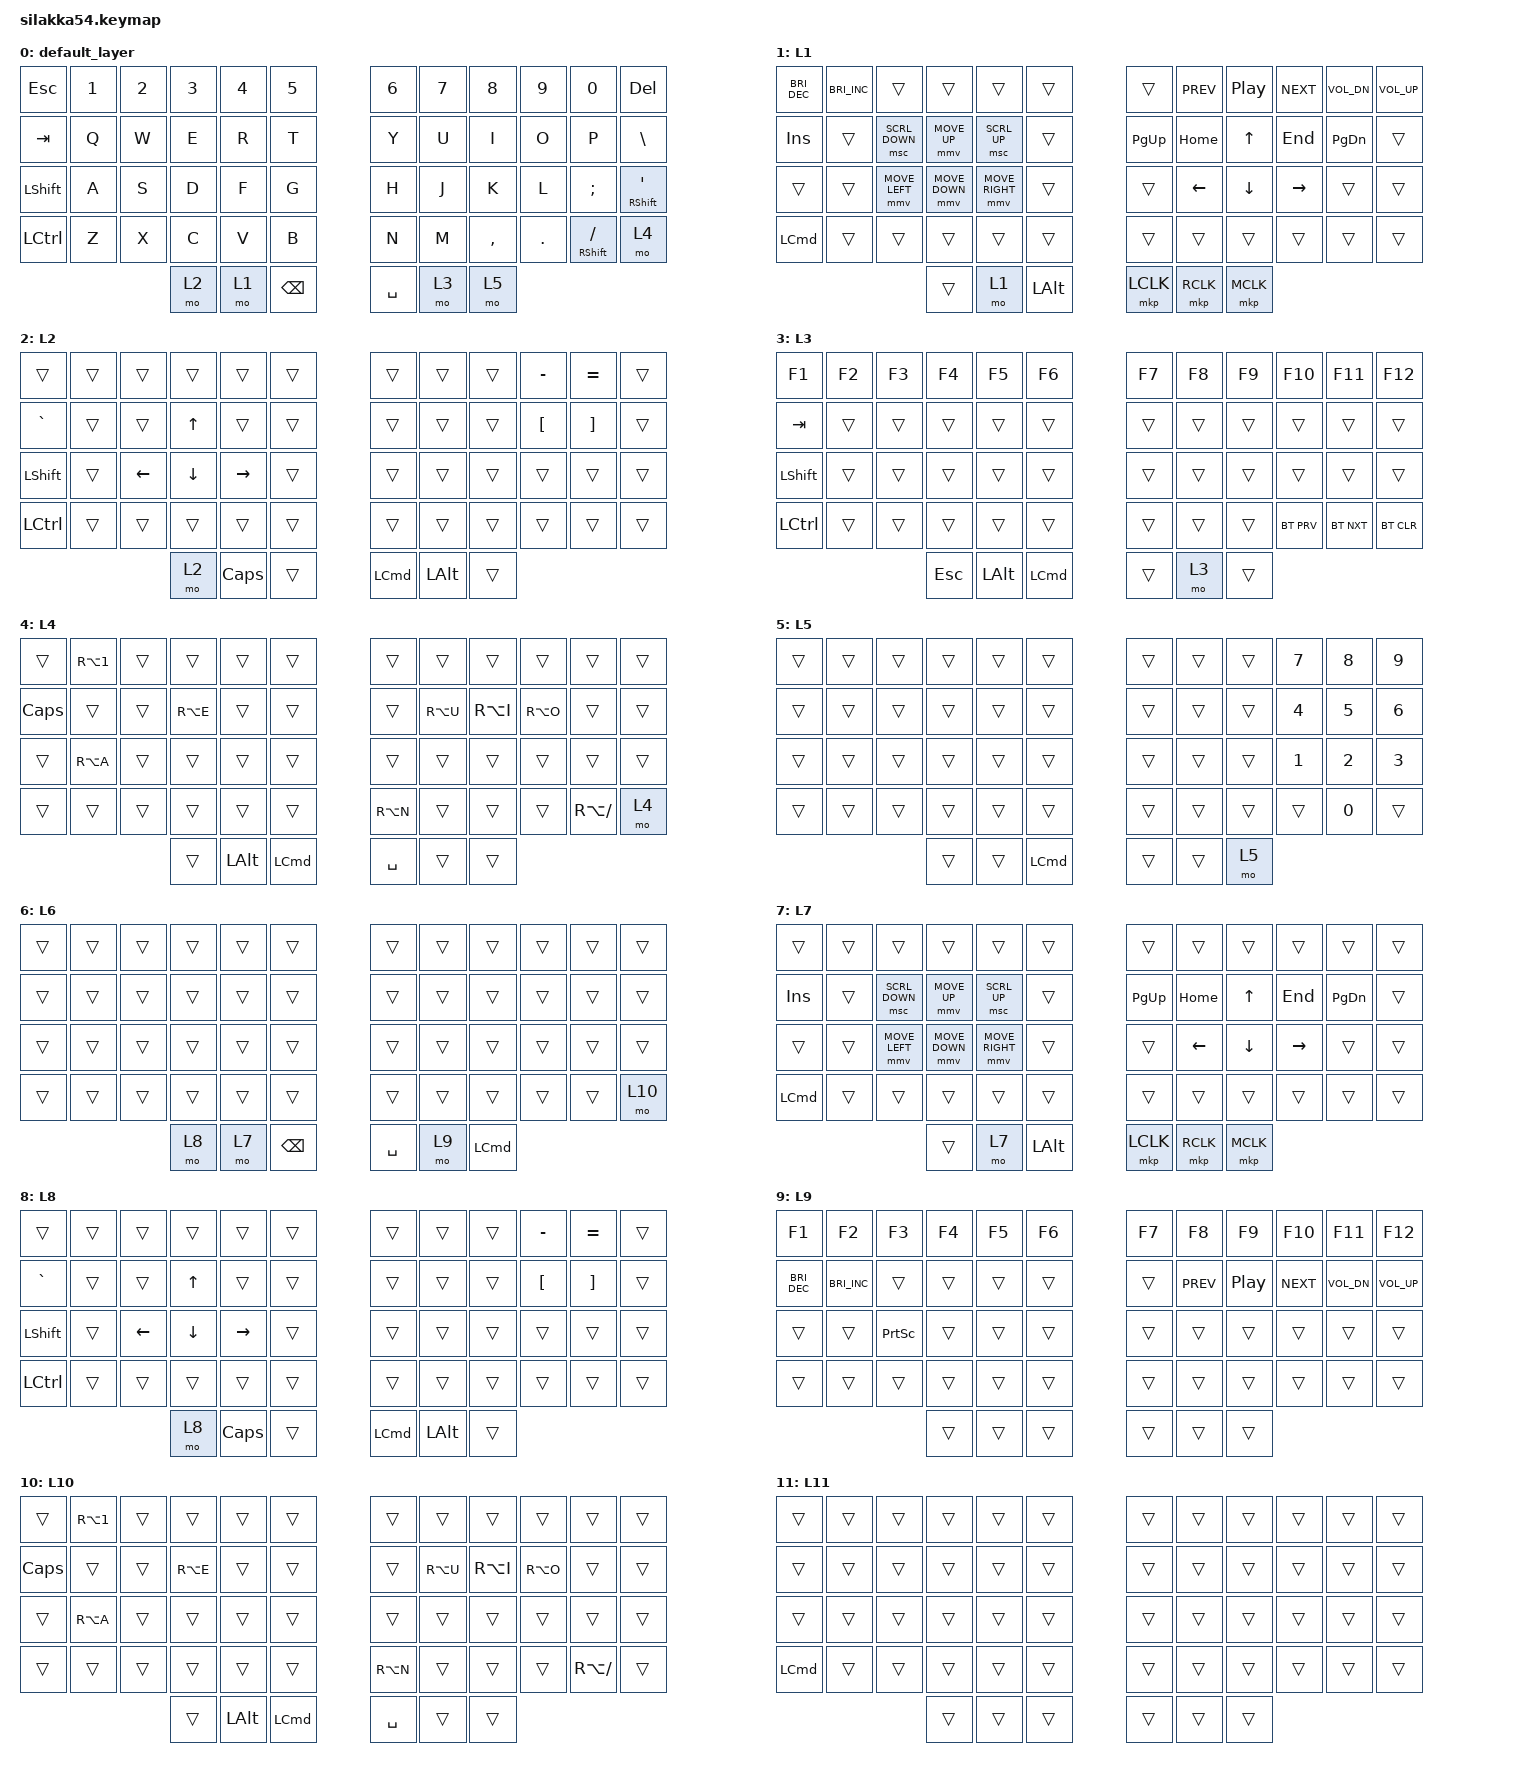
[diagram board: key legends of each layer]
#include <behaviors.dtsi>
#include <dt-bindings/zmk/bt.h>
#include <dt-bindings/zmk/keys.h>
#include <dt-bindings/zmk/pointing.h>

#undef ZMK_POINTING_DEFAULT_MOVE_VAL
#define ZMK_POINTING_DEFAULT_MOVE_VAL 2500

#undef ZMK_POINTING_DEFAULT_SCRL_VAL
#define ZMK_POINTING_DEFAULT_SCRL_VAL 20

&mmv {
    time-to-max-speed-ms = <300>;
    acceleration-exponent = <1>;
};

/ {
    combos {
        compatible = "zmk,combos";

        enter {
            bindings = <&kp ENTER>;
            key-positions = <31 33 32>;
        };

        /*
         * Windows -> Linux
         *
         * DELETE + BACKSLASH + SINGLE_QUOTE
         */
        windows_to_linux {
            bindings = <&to 6>;
            key-positions = <11 23 35>;
            layers = <0>;
            timeout-ms = <100>;
        };

        /*
         * Linux -> Windows
         *
         * DELETE + BACKSLASH + SINGLE_QUOTE
         */
        linux_to_windows {
            bindings = <&to 0>;
            key-positions = <11 23 35>;
            layers = <6>;
            timeout-ms = <100>;
        };
    };

    keymap {
        compatible = "zmk,keymap";

        /*
         * ============================================================
         * L0 - WINDOWS BASE
         * ============================================================
         */
        default_layer {
            bindings = <
                &kp ESC          &kp NUMBER_1  &kp NUMBER_2  &kp NUMBER_3  &kp NUMBER_4  &kp NUMBER_5    &kp NUMBER_6  &kp NUMBER_7  &kp NUMBER_8  &kp NUMBER_9  &kp NUMBER_0  &kp DELETE
                &kp TAB          &kp Q         &kp W         &kp E         &kp R         &kp T            &kp Y         &kp U         &kp I         &kp O         &kp P         &kp BACKSLASH
                &kp LSHFT        &kp A         &kp S         &kp D         &kp F         &kp G            &kp H         &kp J         &kp K         &kp L         &kp SEMICOLON &mt RSHFT SINGLE_QUOTE
                &kp LCTRL        &kp Z         &kp X         &kp C         &kp V         &kp B            &kp N         &kp M         &kp COMMA     &kp PERIOD    &mt RSHFT SLASH &mo 4
                &mo 2            &mo 1         &kp BACKSPACE &kp SPACE      &mo 3         &mo 5
            >;
        };

        /*
         * ============================================================
         * L1 - WINDOWS
         * Mouse / Navigation / Multimedia
         * ============================================================
         */
        L1 {
            bindings = <
                &kp C_BRIGHTNESS_DEC  &kp C_BRIGHTNESS_INC  &trans          &trans          &trans          &trans        &trans        &kp C_PREV       &kp C_PLAY_PAUSE  &kp C_NEXT       &kp C_VOL_DN   &kp C_VOLUME_UP
                &kp INS               &trans                &msc SCRL_DOWN  &mmv MOVE_UP    &msc SCRL_UP    &trans        &kp PAGE_UP   &kp HOME         &kp UP_ARROW      &kp END         &kp PAGE_DOWN  &trans
                &trans                &trans                &mmv MOVE_LEFT &mmv MOVE_DOWN &mmv MOVE_RIGHT &trans        &trans        &kp LEFT_ARROW   &kp DOWN_ARROW    &kp RIGHT       &trans         &trans
                &kp LEFT_COMMAND      &trans                &trans          &trans          &trans          &trans        &trans        &trans           &trans             &trans         &trans         &trans
                &trans                &mo 1                 &kp LEFT_ALT    &mkp LCLK       &mkp RCLK        &mkp MCLK
            >;
        };

        /*
         * ============================================================
         * L2 - WINDOWS
         * Symbols / Navigation
         * ============================================================
         */
        L2 {
            bindings = <
                &trans          &trans  &trans          &trans          &trans        &trans    &trans          &trans        &trans       &kp MINUS  &kp EQUAL  &trans
                &kp GRAVE       &trans  &trans          &kp UP_ARROW    &trans        &trans    &trans          &trans        &trans       &kp LBKT   &kp RBKT   &trans
                &kp LEFT_SHIFT  &trans  &kp LEFT_ARROW  &kp DOWN_ARROW  &kp RIGHT     &trans    &trans          &trans        &trans       &trans     &trans     &trans
                &kp LCTRL       &trans  &trans          &trans          &trans        &trans    &trans          &trans        &trans       &trans     &trans     &trans
                &mo 2           &kp CAPSLOCK &trans    &kp LEFT_COMMAND &kp LEFT_ALT &trans
            >;
        };

        /*
         * ============================================================
         * L3 - WINDOWS
         * F1-F12
         * ============================================================
         */
        L3 {
            bindings = <
                &kp F1            &kp F2  &kp F3  &kp F4  &kp F5  &kp F6       &kp F7  &kp F8  &kp F9  &kp F10  &kp F11  &kp F12
                &kp TAB           &trans  &trans  &trans  &trans  &trans       &trans  &trans  &trans  &trans   &trans   &trans
                &kp LEFT_SHIFT    &trans  &trans  &trans  &trans  &trans       &trans  &trans  &trans  &trans   &trans   &trans
                &kp LEFT_CONTROL  &trans  &trans  &trans  &trans  &trans       &trans  &trans  &trans  &bt BT_PRV &bt BT_NXT &bt BT_CLR
                &kp ESCAPE        &kp LEFT_ALT &kp LEFT_COMMAND &trans &mo 3 &trans
            >;
        };

        /*
         * ============================================================
         * L4 - WINDOWS
         * Special characters
         * ============================================================
         */
        L4 {
            bindings = <
                &trans          &kp RA(NUMBER_1) &trans &trans &trans &trans       &trans &trans &trans &trans &trans &trans
                &kp CAPSLOCK    &trans           &trans &kp RA(E) &trans &trans  &trans &kp RA(U) &kp RA(I) &kp RA(O) &trans &trans
                &trans          &kp RA(A)        &trans &trans &trans &trans     &trans &trans &trans &trans &trans &trans
                &trans          &trans           &trans &trans &trans &trans     &kp RA(N) &trans &trans &trans &kp RA(SLASH) &mo 4
                &trans          &kp LEFT_ALT     &kp LEFT_COMMAND &kp SPACE &trans &trans
            >;
        };

        /*
         * ============================================================
         * L5 - WINDOWS
         * Numpad
         * ============================================================
         */
        L5 {
            bindings = <
                &trans &trans &trans &trans &trans &trans       &trans &trans &trans &kp N7 &kp N8 &kp N9
                &trans &trans &trans &trans &trans &trans       &trans &trans &trans &kp N4 &kp N5 &kp N6
                &trans &trans &trans &trans &trans &trans       &trans &trans &trans &kp N1 &kp N2 &kp N3
                &trans &trans &trans &trans &trans &trans       &trans &trans &trans &trans &kp NUMBER_0 &trans
                &trans &trans &kp LEFT_COMMAND &trans &trans &mo 5
            >;
        };

        /*
         * ============================================================
         * L6 - LINUX BASE
         * ============================================================
         *
         * MO7  = Mouse
         * MO8  = Navigation / Symbols
         * MO9  = F-keys + Multimedia + Brightness + Volume
         * MO10 = Special characters
         * MO11 = Super / Hyprland modifiers
         */
        L6 {
            bindings = <
                &trans &trans &trans &trans &trans &trans       &trans &trans &trans &trans &trans &trans
                &trans &trans &trans &trans &trans &trans       &trans &trans &trans &trans &trans &trans
                &trans &trans &trans &trans &trans &trans       &trans &trans &trans &trans &trans &trans
                &trans &trans &trans &trans &trans &trans       &trans &trans &trans &trans &trans &mo 10
                &mo 8 &mo 7 &kp BACKSPACE &kp SPACE &mo 9 &kp LEFT_COMMAND
            >;
        };

        /*
         * ============================================================
         * L7 - LINUX
         * Mouse / Scroll / Clicks
         *
         * Igual que Windows L1, pero SIN:
         * - Brillo
         * - Volumen
         * - Multimedia
         */
        L7 {
            bindings = <
                &trans          &trans          &trans          &trans          &trans          &trans        &trans        &trans          &trans          &trans          &trans         &trans
                &kp INS         &trans          &msc SCRL_DOWN &mmv MOVE_UP    &msc SCRL_UP    &trans        &kp PAGE_UP   &kp HOME        &kp UP_ARROW    &kp END         &kp PAGE_DOWN  &trans
                &trans          &trans          &mmv MOVE_LEFT &mmv MOVE_DOWN &mmv MOVE_RIGHT &trans        &trans        &kp LEFT_ARROW  &kp DOWN_ARROW  &kp RIGHT       &trans         &trans
                &kp LEFT_COMMAND &trans         &trans          &trans          &trans          &trans        &trans        &trans          &trans          &trans          &trans         &trans
                &trans          &mo 7           &kp LEFT_ALT    &mkp LCLK       &mkp RCLK       &mkp MCLK
            >;
        };

        /*
         * ============================================================
         * L8 - LINUX
         * Navigation / Symbols
         *
         * Igual que Windows L2.
         *
         * Incluye:
         * - Flechas
         * - Home / End
         * - Page Up / Page Down
         * - Grave
         * - -
         * - =
         * - [
         * - ]
         * - Shift / Ctrl / Alt
         *
         * NO incluye:
         * - Brillo
         * - Volumen
         * - Multimedia
         */
        L8 {
            bindings = <
                &trans          &trans  &trans          &trans          &trans        &trans    &trans          &trans        &trans       &kp MINUS  &kp EQUAL  &trans
                &kp GRAVE       &trans  &trans          &kp UP_ARROW    &trans        &trans    &trans          &trans        &trans       &kp LBKT   &kp RBKT   &trans
                &kp LEFT_SHIFT  &trans  &kp LEFT_ARROW  &kp DOWN_ARROW  &kp RIGHT     &trans    &trans          &trans        &trans       &trans     &trans     &trans
                &kp LCTRL       &trans  &trans          &trans          &trans        &trans    &trans          &trans        &trans       &trans     &trans     &trans
                &mo 8           &kp CAPSLOCK &trans    &kp LEFT_COMMAND &kp LEFT_ALT &trans
            >;
        };

        /*
         * ============================================================
         * L9 - LINUX
         * F1-F12 + Multimedia + Brightness + Volume
         * ============================================================
         *
         * Acá se concentra todo el control del sistema.
         */
        L9 {
            bindings = <
                &kp F1            &kp F2  &kp F3  &kp F4  &kp F5  &kp F6       &kp F7  &kp F8  &kp F9  &kp F10  &kp F11  &kp F12
                &kp C_BRIGHTNESS_DEC &kp C_BRIGHTNESS_INC &trans &trans &trans &trans       &trans &kp C_PREV &kp C_PLAY_PAUSE &kp C_NEXT &kp C_VOL_DN &kp C_VOLUME_UP
                &trans          &trans  &kp PRINTSCREEN  &trans  &trans  &trans       &trans &trans &trans &trans &trans &trans
                &trans          &trans  &trans  &trans  &trans  &trans       &trans &trans &trans &trans &trans &trans
                &trans          &trans  &trans  &trans  &trans  &trans
            >;
        };

        /*
         * ============================================================
         * L10 - LINUX
         * Special characters
         *
         * Igual que Windows L4.
         */
        L10 {
            bindings = <
                &trans          &kp RA(NUMBER_1) &trans &trans &trans &trans       &trans &trans &trans &trans &trans &trans
                &kp CAPSLOCK    &trans           &trans &kp RA(E) &trans &trans  &trans &kp RA(U) &kp RA(I) &kp RA(O) &trans &trans
                &trans          &kp RA(A)        &trans &trans &trans &trans     &trans &trans &trans &trans &trans &trans
                &trans          &trans           &trans &trans &trans &trans     &kp RA(N) &trans &trans &trans &kp RA(SLASH) &trans
                &trans          &kp LEFT_ALT     &kp LEFT_COMMAND &kp SPACE &trans &trans
            >;
        };

        /*
         * ============================================================
         * L11 - LINUX
         * SUPER / HYPRLAND
         * ============================================================
         *
         * La posición física de CTRL se convierte en SUPER.
         *
         * El resto de las teclas es TRANSPARENTE.
         *
         * Esto permite combinar físicamente:
         *
         * L11 + CTRL físico + SPACE
         *     -> SUPER + SPACE
         *
         * L11 + CTRL físico + SHIFT + SPACE
         *     -> SUPER + SHIFT + SPACE
         *
         * L11 + CTRL físico + ALT + SPACE
         *     -> SUPER + ALT + SPACE
         *
         * L11 + CTRL físico + 1
         *     -> SUPER + 1
         *
         * L11 + CTRL físico + SHIFT + 1
         *     -> SUPER + SHIFT + 1
         *
         * L11 + CTRL físico + TAB
         *     -> SUPER + TAB
         *
         * Recomendados para Hyprland / Noctalia:
         *
         * SUPER + SPACE
         *     Launcher
         *
         * SUPER + S
         *     Control Center
         *
         * SUPER + Q
         *     Cerrar ventana
         *
         * SUPER + F
         *     Fullscreen
         *
         * SUPER + V
         *     Toggle floating
         *
         * SUPER + 1..9
         *     Workspace
         *
         * SUPER + SHIFT + 1..9
         *     Mover ventana al workspace
         *
         * SUPER + TAB
         *     Cambiar ventana
         *
         * SUPER + SHIFT + S
         *     Screenshot
         *
         * SUPER + SHIFT + R
         *     Recargar configuración
         */
        L11 {
            bindings = <
                &trans          &trans &trans &trans &trans &trans       &trans &trans &trans &trans &trans &trans
                &trans          &trans &trans &trans &trans &trans       &trans &trans &trans &trans &trans &trans
                &trans          &trans &trans &trans &trans &trans       &trans &trans &trans &trans &trans &trans
                &kp LEFT_COMMAND &trans &trans &trans &trans &trans     &trans &trans &trans &trans &trans &trans
                &trans          &trans &trans &trans &trans &trans
            >;
        };
    };
};
